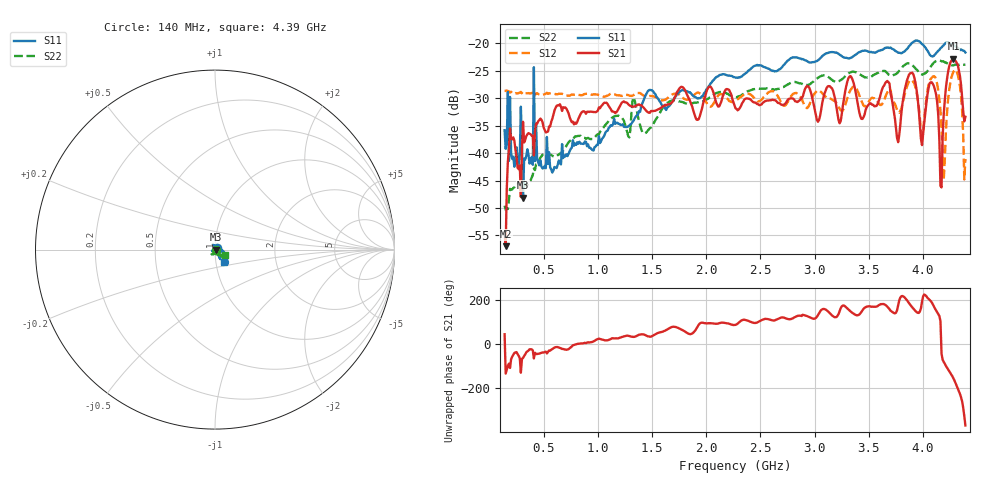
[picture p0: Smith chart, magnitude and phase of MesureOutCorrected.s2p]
!Created with skrf (http://scikit-rf.org).
# MHz S RI R 50.0
!freq ReS11 ImS11 ReS21 ImS21 ReS12 ImS12 ReS22 ImS22
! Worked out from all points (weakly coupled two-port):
!   426 points, 140 MHz to 4.39 GHz, reference 50 ohm
!   highest |S21| = -22.77 dB at 4.28 GHz (marker M1); lowest = -57.0 dB at 150 MHz (marker M2)
!   lowest |S11| = -48.1 dB at 310 MHz (marker M3), VSWR 1.01, Z = 50.4 - j0.128 ohm
!   |S11| at or under -10 dB: start of sweep to end of sweep
!   |S22| runs from -50.3 to -23.1 dB; largest |S21 - S12| = 0.045
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140  0.0125 0.0103  0.00132 0.00136  0.0364 0.00604  0.00325 -0.000698
150  0.00715 0.00828  -0.000957 -0.00105  0.0364 0.00595  0.00279 -0.00121
200  0.00692 0.00711  0.00531 -0.0126  0.0356 0.0069  0.00359 -0.00293
270  0.0032 0.0066  0.00439 -0.00562  0.0341 0.00902  0.004 -0.00367
310  0.00372 -0.00127  0.0092 -0.0169  0.0323 0.0118  0.00299 -0.00377
850  0.0102 0.00676  0.0234 0.00167  0.024 0.0235  0.0055 -0.0129
1560  0.0306 -0.00418  0.0152 0.0201  0.0081 0.0301  0.0144 -0.0169
2270  0.0452 -0.0183  0.000627 0.0256  -0.0134 0.0269  0.0181 -0.0269
2980  0.0535 -0.041  -0.0142 0.0276  -0.0298 0.013  0.0332 -0.0296
3230  0.0553 -0.0563  -0.0163 0.00913  -0.0233 0.0102  0.0349 -0.0294
3330  0.0555 -0.0485  -0.0436 0.0253  -0.0372 0.00438  0.0412 -0.0353
3440  0.0665 -0.0537  -0.0184 0.00891  -0.0275 0.00787  0.0356 -0.0356
3690  0.062 -0.0664  -0.0403 0.0151  -0.0372 -0.00315  0.0396 -0.033
3770  0.0557 -0.0604  -0.0126 0.000337  -0.0232 -0.00468  0.0475 -0.0274
3900  0.0718 -0.0718  -0.0528 0.0111  -0.046 -0.00197  0.0474 -0.0424
3990  0.0531 -0.0829  -0.0115 -0.00274  -0.0137 -0.00429  0.0416 -0.0312
4090  0.0457 -0.0607  -0.0426 -0.00108  -0.0462 -0.0191  0.0579 -0.0301
4170  0.0612 -0.0684  0.00357 -0.00331  -0.0148 0.00845  0.0563 -0.0395
4200  0.06 -0.0788  0.00105 -0.0302  -0.00362 -0.00785  0.0538 -0.0403
4280  0.0536 -0.0813  -0.0658 -0.0308  -0.044 -0.0333  0.0519 -0.0358
4330  0.0483 -0.075  -0.0479 0.0306  -0.0464 -0.000915  0.0534 -0.0349
4390  0.049 -0.0666  0.0212 -0.00292  -0.000959 -0.00879  0.0558 -0.0316
